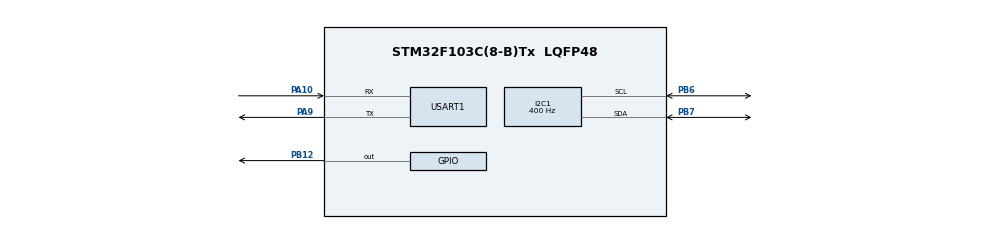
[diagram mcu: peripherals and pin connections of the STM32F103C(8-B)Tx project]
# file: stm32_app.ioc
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Dma.Request0=USART1_RX
Dma.USART1_RX.0.Direction=DMA_PERIPH_TO_MEMORY
Dma.USART1_RX.0.Instance=DMA1_Channel5
Dma.USART1_RX.0.MemDataAlignment=DMA_MDATAALIGN_BYTE
Dma.USART1_RX.0.MemInc=DMA_MINC_ENABLE
Dma.USART1_RX.0.Mode=DMA_CIRCULAR
Dma.USART1_RX.0.PeriphDataAlignment=DMA_PDATAALIGN_BYTE
Dma.USART1_RX.0.PeriphInc=DMA_PINC_DISABLE
Dma.USART1_RX.0.Priority=DMA_PRIORITY_LOW
I2C1.ClockSpeed=400
Mcu.Family=STM32F1
Mcu.Name=STM32F103C(8-B)Tx
Mcu.Package=LQFP48
NVIC.DMA1_Channel5_IRQn=true\:0\:0\:false\:false\:true\:false\:true
NVIC.PriorityGroup=NVIC_PRIORITYGROUP_4
NVIC.USART1_IRQn=true\:0\:0\:false\:false\:true\:true\:true
PA10.Mode=Asynchronous
PA10.Signal=USART1_RX
PA13.Mode=Serial_Wire
PA13.Signal=SYS_JTMS-SWDIO
PA14.Mode=Serial_Wire
PA14.Signal=SYS_JTCK-SWCLK
PA9.Mode=Asynchronous
PA9.Signal=USART1_TX
PB12.Signal=GPIO_Output
PB6.Mode=I2C
PB6.Signal=I2C1_SCL
PB7.Mode=I2C
PB7.Signal=I2C1_SDA
ProjectManager.HeapSize=0x200
ProjectManager.StackSize=0x400
ProjectManager.TargetToolchain=MDK-ARM V5.27
RCC.APB1Freq_Value=8000000
RCC.APB2Freq_Value=8000000
USART1.VirtualMode=VM_ASYNC
board=custom

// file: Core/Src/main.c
/* USER CODE BEGIN Header */
/**
  ******************************************************************************
  * @file           : main.c
  * @brief          : Main program body
  ******************************************************************************
  * @attention
  *
  * <h2><center>&copy; Copyright (c) 2024 STMicroelectronics.
  * All rights reserved.</center></h2>
  *
  * This software component is licensed by ST under BSD 3-Clause license,
  * the "License"; You may not use this file except in compliance with the
  * License. You may obtain a copy of the License at:
  *                        opensource.org/licenses/BSD-3-Clause
  *
  ******************************************************************************
  */
/* USER CODE END Header */
#include "main.h"

/* USER CODE BEGIN Includes */
#include "string.h"
#include "SEGGER_RTT.h"
#include "user_flash.h"
#include "bsp_eeprom.h"
#include "app_otaConfig.h"
#include "utility_common.h"
#include "bsp_uart1.h"
#include "app_dataTransferProtocol.h"
/* USER CODE END Includes */

I2C_HandleTypeDef hi2c1;
UART_HandleTypeDef huart1;
DMA_HandleTypeDef hdma_usart1_rx;

void SystemClock_Config(void);
static void MX_GPIO_Init(void);
static void MX_DMA_Init(void);
static void MX_I2C1_Init(void);
static void MX_USART1_UART_Init(void);

/* USER CODE BEGIN 0 */
#define INFLASH_START_ADDR      ((uint32_t)0x8000000)  // STM32 内部FLASH的起始地址
#define INFLASH_VTOR_OFFSET     ((uint32_t)0x8003000)  // APP向量表的偏移地址，与APP的起始地址保持一致

#define BOOTLOADER_ADDRESS 0x8003000  //你的APP存放起始地址
typedef void (*pFunction)(void);
// Bootloader跳转至APP
void IAP_LoadApp(uint32_t appxaddr)
{
    pFunction JumpApp;

	if(((*(__IO uint32_t*)appxaddr)&0x2FFE0000)==0x20000000)	//检查栈顶地址是否合法.
	{
        __disable_irq();
        JumpApp=(pFunction)*(__IO uint32_t*)(appxaddr+4);   //用户代码区第二个字为程序开始地址(复位地址)
        __set_MSP(*(__IO uint32_t*)appxaddr);               //初始化APP堆栈指针(用户代码区的第一个字用于存放栈顶地址)
        JumpApp();              //跳转到APP.
	}
}

/* USER CODE END 0 */

int main(void)
{
    /* USER CODE BEGIN 1 */
    SCB->VTOR = INFLASH_START_ADDR | INFLASH_VTOR_OFFSET;     // 设置向量表的起始地址
    __enable_irq();    	// 开启总中断
    uint8_t rx_buff[200] = "Hello i is app v";
    strcat((char*)rx_buff, APP_VERSION);//字符串追加（连接）
    strcat((char*)rx_buff, "\r\n");//字符串追加（连接）

    /* USER CODE END 1 */

    /* MCU Configuration--------------------------------------------------------*/

    /* Reset of all peripherals, Initializes the Flash interface and the Systick. */
    HAL_Init();

    /* Configure the system clock */
    SystemClock_Config();

    /* Initialize all configured peripherals */
    MX_GPIO_Init();
    MX_DMA_Init();
    MX_I2C1_Init();
    MX_USART1_UART_Init();
    /* USER CODE BEGIN 2 */
    SEGGER_RTT_Init();
    HAL_GPIO_WritePin(GPIOB, GPIO_PIN_12, GPIO_PIN_RESET);
    protocol_init();

    /* USER CODE END 2 */

    /* Infinite loop */
    while (1)
    {

        /* USER CODE BEGIN 3 */

        /*char v_buff[200] = {0};
        app_otaGetVersion(v_buff);
        SEGGER_RTT_printf(0,"vvvvv:%s  %d\r\n",v_buff,strlen(v_buff));*/
        HAL_Delay(1000);
        HAL_GPIO_TogglePin(GPIOB, GPIO_PIN_12);
        //HAL_UART_Transmit(&huart1,rx_buff,sizeof(rx_buff),100);

    }
    /* USER CODE END 3 */
}

void SystemClock_Config(void)
{
  RCC_OscInitTypeDef RCC_OscInitStruct = {0};
  RCC_ClkInitTypeDef RCC_ClkInitStruct = {0};

  /** Initializes the RCC Oscillators according to the specified parameters
  * in the RCC_OscInitTypeDef structure.
  */
  RCC_OscInitStruct.OscillatorType = RCC_OSCILLATORTYPE_HSI;
  RCC_OscInitStruct.HSIState = RCC_HSI_ON;
  RCC_OscInitStruct.HSICalibrationValue = RCC_HSICALIBRATION_DEFAULT;
  RCC_OscInitStruct.PLL.PLLState = RCC_PLL_NONE;
  if (HAL_RCC_OscConfig(&RCC_OscInitStruct) != HAL_OK)
  {
    Error_Handler();
  }
  /** Initializes the CPU, AHB and APB buses clocks
  */
  RCC_ClkInitStruct.ClockType = RCC_CLOCKTYPE_HCLK|RCC_CLOCKTYPE_SYSCLK
                              |RCC_CLOCKTYPE_PCLK1|RCC_CLOCKTYPE_PCLK2;
  RCC_ClkInitStruct.SYSCLKSource = RCC_SYSCLKSOURCE_HSI;
  RCC_ClkInitStruct.AHBCLKDivider = RCC_SYSCLK_DIV1;
  RCC_ClkInitStruct.APB1CLKDivider = RCC_HCLK_DIV1;
  RCC_ClkInitStruct.APB2CLKDivider = RCC_HCLK_DIV1;

  if (HAL_RCC_ClockConfig(&RCC_ClkInitStruct, FLASH_LATENCY_0) != HAL_OK)
  {
    Error_Handler();
  }
}

static void MX_I2C1_Init(void)
{

  hi2c1.Instance = I2C1;
  hi2c1.Init.ClockSpeed = 400;
  hi2c1.Init.DutyCycle = I2C_DUTYCYCLE_2;
  hi2c1.Init.OwnAddress1 = 0;
  hi2c1.Init.AddressingMode = I2C_ADDRESSINGMODE_7BIT;
  hi2c1.Init.DualAddressMode = I2C_DUALADDRESS_DISABLE;
  hi2c1.Init.OwnAddress2 = 0;
  hi2c1.Init.GeneralCallMode = I2C_GENERALCALL_DISABLE;
  hi2c1.Init.NoStretchMode = I2C_NOSTRETCH_DISABLE;
  if (HAL_I2C_Init(&hi2c1) != HAL_OK)
  {
    Error_Handler();
  }

}

static void MX_USART1_UART_Init(void)
{

  huart1.Instance = USART1;
  huart1.Init.BaudRate = 115200;
  huart1.Init.WordLength = UART_WORDLENGTH_8B;
  huart1.Init.StopBits = UART_STOPBITS_1;
  huart1.Init.Parity = UART_PARITY_NONE;
  huart1.Init.Mode = UART_MODE_TX_RX;
  huart1.Init.HwFlowCtl = UART_HWCONTROL_NONE;
  huart1.Init.OverSampling = UART_OVERSAMPLING_16;
  if (HAL_UART_Init(&huart1) != HAL_OK)
  {
    Error_Handler();
  }
  /* USER CODE BEGIN USART1_Init 2 */
    __HAL_UART_ENABLE_IT(&huart1, UART_IT_IDLE);                    // 空闲中断 串口中断
    uart1_empty_data_buffer();
  /* USER CODE END USART1_Init 2 */

}

static void MX_DMA_Init(void)
{

  /* DMA controller clock enable */
  __HAL_RCC_DMA1_CLK_ENABLE();

  /* DMA interrupt init */
  /* DMA1_Channel5_IRQn interrupt configuration */
  HAL_NVIC_SetPriority(DMA1_Channel5_IRQn, 0, 0);
  HAL_NVIC_EnableIRQ(DMA1_Channel5_IRQn);

}

static void MX_GPIO_Init(void)
{
  GPIO_InitTypeDef GPIO_InitStruct = {0};

  /* GPIO Ports Clock Enable */
  __HAL_RCC_GPIOB_CLK_ENABLE();
  __HAL_RCC_GPIOA_CLK_ENABLE();

  /*Configure GPIO pin Output Level */
  HAL_GPIO_WritePin(GPIOB, GPIO_PIN_12, GPIO_PIN_RESET);

  /*Configure GPIO pin : PB12 */
  GPIO_InitStruct.Pin = GPIO_PIN_12;
  GPIO_InitStruct.Mode = GPIO_MODE_OUTPUT_PP;
  GPIO_InitStruct.Pull = GPIO_NOPULL;
  GPIO_InitStruct.Speed = GPIO_SPEED_FREQ_LOW;
  HAL_GPIO_Init(GPIOB, &GPIO_InitStruct);

}

void Error_Handler(void)
{
  __disable_irq();
  while (1)
  {
  }
}

/************************ (C) COPYRIGHT STMicroelectronics *****END OF FILE****/
